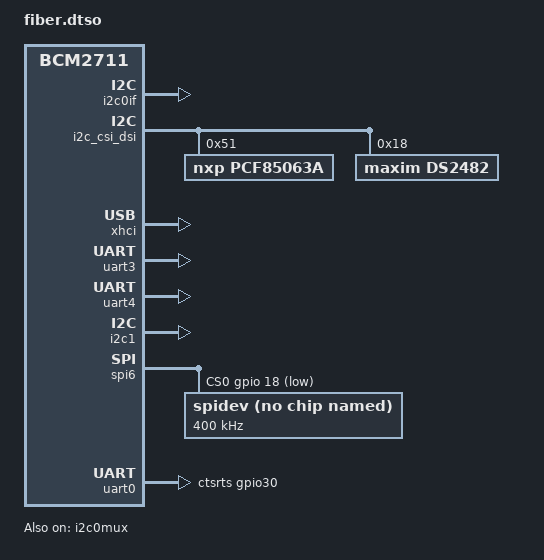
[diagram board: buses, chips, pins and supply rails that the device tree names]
// SPDX-License-Identifier: MIT

/dts-v1/;
/plugin/;

/ {
	compatible = "brcm,bcm2711";

	fragment@0 {
		target = <&i2c0if>;
		__overlay__ {
			status = "okay";
		};
	};

	fragment@1 {
		target = <&i2c0mux>;
		__overlay__ {
			status = "okay";
		};
	};

	fragment@2 {
		target = <&i2c_csi_dsi>;
		__overlay__ {
			#address-cells = <1>;
			#size-cells = <0>;
			status = "okay";

			pcf85063a@51 {
				compatible = "nxp,pcf85063a";
				reg = <0x51>;
			};

			ds2482@18 {
				compatible = "maxim,ds2482";
				reg = <0x18>;
			};
		};
	};

	fragment@3 {
		target = <&xhci>;
		__overlay__ {
			status = "okay";
		};
	};

	fragment@4 {
		target = <&uart3>;
		__overlay__ {
			status = "okay";
		};
	};

	fragment@5 {
		target = <&uart4>;
		__overlay__ {
			status = "okay";
		};
	};

	fragment@6 {
		target = <&i2c1>;
		__overlay__ {
			status = "okay";
		};
	};

	fragment@7 {
		target = <&spi6>;
		__overlay__ {
			#address-cells = <1>;
			#size-cells = <0>;
			status = "okay";

			cs-gpios = <&gpio 18 1>;

			spidev@0 {
				compatible = "spidev";
				reg = <0>;
				spi-max-frequency = <400000>;
			};
		};
	};

	fragment@8 {
		target = <&uart0>;
		__overlay__ {
			pinctrl-0 = <&uart0_pins &uart0_ctsrts_gpio30 &bt_pins>;
		};
	};
};
